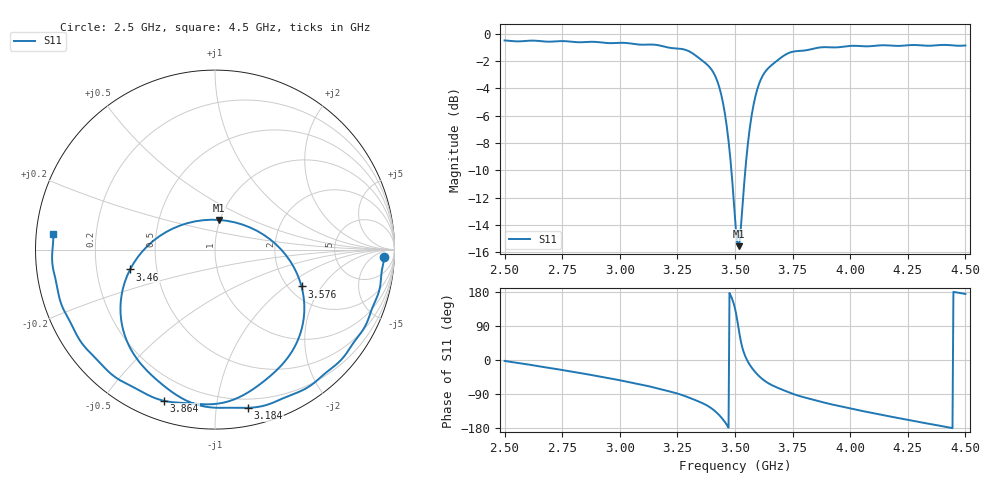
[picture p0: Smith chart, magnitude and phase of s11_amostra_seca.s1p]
! S11 simulado (openEMS) da antena patch_3g50: amostra: 10 mm de polimero (er = 4, tand = 0.01) com 0 % de agua -> er = 4.00, tand = 0.010; gap 3 mm
! referencia: borda da placa (entrada do SMA)
# Hz S RI R 50
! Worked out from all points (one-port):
!   501 points, 2.5 GHz to 4.5 GHz, reference 50 ohm
!   lowest |S11| = -15.6 dB at 3.516 GHz (marker M1), VSWR 1.40, Z = 49.6 + j16.9 ohm
!   |S11| at or under -10 dB: 3.484 GHz to 3.545 GHz (60.33 MHz wide, 1.72 % of centre)
!   S11 on the Smith chart (normalised r, x): 2.5 GHz: 23, -17; 3.184 GHz: 0.13, -1.22; 3.46 GHz: 0.35, -0.10; 3.576 GHz: 2.34, -1.32; 3.864 GHz: 0.09, -0.71; 4.5 GHz: 0.05, +0.05
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2.5e9  0.9433 -0.0392
2.752e9  0.8388 -0.4223
2.872e9  0.7241 -0.5891
3e9  0.5512 -0.7435
3.184e9  0.1842 -0.8814
3.252e9  0.0174 -0.8815
3.312e9  -0.1773 -0.8323
3.38e9  -0.3906 -0.6623
3.404e9  -0.4698 -0.5535
3.428e9  -0.523 -0.3899
3.46e9  -0.473 -0.1103
3.48e9  -0.3442 0.0486
3.5e9  -0.1521 0.1477
3.508e9  -0.065 0.1639
3.516e9  0.0239 0.1652
3.524e9  0.1115 0.1515
3.548e9  0.3387 0.0302
3.576e9  0.482 -0.2053
3.612e9  0.4655 -0.4951
3.644e9  0.3617 -0.6535
3.7e9  0.1826 -0.7967
3.752e9  0.00769 -0.8592
3.864e9  -0.284 -0.8424
4e9  -0.5505 -0.7142
4.144e9  -0.7474 -0.5135
4.252e9  -0.8403 -0.3413
4.4e9  -0.9054 -0.0841
4.5e9  -0.9006 0.0894
